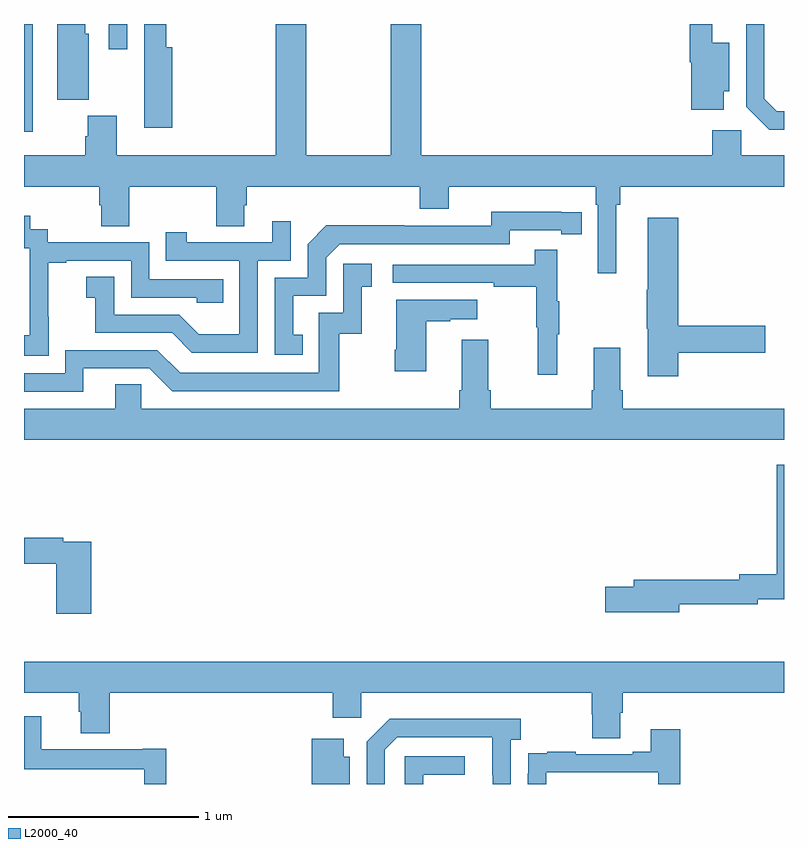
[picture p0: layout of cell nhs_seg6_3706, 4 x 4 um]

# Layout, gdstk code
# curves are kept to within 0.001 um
import gdstk
lib = gdstk.Library(unit=1e-6, precision=1e-09)
def R(c, l, rs):  # rectangles x0, y0, x1, y1
    for r in rs: c.add(gdstk.rectangle(r[:2], r[2:], *l))
def P(c, l, *ps):  # polygons
    for p in ps: c.add(gdstk.Polygon(p, *l))
L2000_40 = (2000, 40)

nhs_seg6_3706 = lib.new_cell('nhs_seg6_3706')
R(nhs_seg6_3706, L2000_40, [(327,972.932,327.046,973.5), (327.447,973.368,327.543,973.5)])
P(nhs_seg6_3706, L2000_40, [(331,973.041),(330.963,973.041),(330.897,973.107),(330.897,973.5),(330.801,973.5),(330.801,973.065),(330.922,972.944),(331,972.944)],
  [(330.682,973.145),(330.712,973.145),(330.712,973.402),(330.623,973.402),(330.623,973.5),(330.505,973.5),(330.505,973.298),(330.512,973.298),(330.512,973.05),(330.682,973.05)],
  [(327.779,973.378),(327.749,973.378),(327.749,973.5),(327.633,973.5),(327.633,973.274),(327.632,973.274),(327.632,972.954),(327.779,972.954)],
  [(327.34,973.449),(327.322,973.449),(327.322,973.5),(327.176,973.5),(327.176,973.102),(327.34,973.102)],
  [(330.118,972.548),(330.137,972.548),(330.137,972.644),(331,972.644),(331,972.808),(330.774,972.808),(330.774,972.94),(330.623,972.94),(330.623,972.808),(329.09,972.808),(329.09,973.5),(328.93,973.5),(328.93,972.808),(328.485,972.808),(328.485,973.5),(328.325,973.5),(328.325,972.808),(327.488,972.808),(327.488,973.017),(327.335,973.017),(327.335,972.908),(327.323,972.908),(327.323,972.808),(327,972.808),(327,972.644),(327.395,972.644),(327.395,972.546),(327.407,972.546),(327.407,972.436),(327.555,972.436),(327.555,972.644),(328.012,972.644),(328.012,972.436),(328.159,972.436),(328.159,972.546),(328.172,972.546),(328.172,972.644),(329.084,972.644),(329.084,972.527),(329.236,972.527),(329.236,972.644),(330.008,972.644),(330.008,972.548),(330.021,972.548),(330.021,972.189),(330.118,972.189)],
  [(328.466,971.865),(328.417,971.865),(328.417,972.069),(328.59,972.069),(328.59,972.27),(328.662,972.342),(329.556,972.342),(329.556,972.414),(329.828,972.414),(329.828,972.394),(329.936,972.394),(329.936,972.51),(329.46,972.511),(329.46,972.438),(329,972.438),(329,972.44),(328.592,972.44),(328.494,972.342),(328.494,972.165),(328.32,972.165),(328.32,971.76),(328.466,971.76)],
  [(327.129,971.959),(327.128,971.959),(327.128,972.243),(327.223,972.243),(327.223,972.255),(327.564,972.255),(327.564,972.06),(327.909,972.06),(327.909,972.033),(328.049,972.033),(328.049,972.156),(327.66,972.156),(327.66,972.351),(327.126,972.351),(327.126,972.42),(327.034,972.42),(327.034,972.49),(327,972.49),(327,972.321),(327.03,972.321),(327.03,972.092),(327.029,972.092),(327.029,971.863),(327,971.863),(327,971.753),(327.129,971.753)],
  [(330.443,971.77),(330.901,971.77),(330.901,971.912),(330.443,971.912),(330.443,972.481),(330.284,972.481),(330.284,972.101),(330.277,972.101),(330.277,971.895),(330.284,971.895),(330.284,971.646),(330.443,971.646)],
  [(328.23,972.255),(328.404,972.255),(328.404,972.463),(328.307,972.463),(328.307,972.351),(327.856,972.351),(327.856,972.403),(327.745,972.403),(327.745,972.255),(328.134,972.255),(328.134,971.866),(327.92,971.866),(327.816,971.97),(327.474,971.97),(327.474,972.169),(327.327,972.169),(327.327,972.059),(327.376,972.059),(327.376,971.874),(327.779,971.874),(327.884,971.769),(328.23,971.769)],
  [(329.807,971.867),(329.818,971.867),(329.818,972.041),(329.807,972.041),(329.807,972.313),(329.689,972.313),(329.689,972.234),(328.941,972.234),(328.941,972.138),(329.473,972.138),(329.473,972.118),(329.697,972.118),(329.697,971.904),(329.704,971.904),(329.704,971.655),(329.807,971.655)],
  [(327.313,971.688),(327.66,971.688),(327.78,971.568),(328.66,971.568),(328.66,971.871),(328.778,971.871),(328.778,972.117),(328.831,972.117),(328.831,972.238),(328.68,972.238),(328.68,971.979),(328.551,971.979),(328.551,971.664),(327.822,971.664),(327.702,971.784),(327.216,971.784),(327.216,971.661),(327,971.661),(327,971.565),(327.313,971.565)],
  [(329.116,971.935),(329.243,971.935),(329.243,971.945),(329.386,971.945),(329.386,972.049),(328.958,972.049),(328.958,971.785),(328.951,971.785),(328.951,971.673),(329.116,971.673)],
  [(331,971.476),(330.152,971.476),(330.152,971.572),(330.139,971.572),(330.139,971.797),(329.999,971.797),(329.999,971.572),(329.987,971.572),(329.987,971.476),(329.456,971.476),(329.456,971.572),(329.443,971.572),(329.443,971.839),(329.303,971.839),(329.303,971.572),(329.291,971.572),(329.291,971.476),(327.618,971.476),(327.618,971.603),(327.479,971.603),(327.479,971.476),(327,971.476),(327,971.312),(331,971.312)],
  [(330.448,970.446),(330.862,970.446),(330.862,970.472),(331,970.472),(331,971.179),(330.962,971.179),(330.962,970.604),(330.764,970.604),(330.764,970.574),(330.209,970.574),(330.209,970.538),(330.06,970.538),(330.06,970.403),(330.448,970.403)],
  [(327.353,970.776),(327.206,970.776),(327.206,970.796),(327,970.796),(327,970.66),(327.17,970.66),(327.17,970.395),(327.353,970.395)],
  [(327,969.98),(327.287,969.98),(327.287,969.879),(327.299,969.879),(327.299,969.767),(327.452,969.767),(327.452,969.98),(328.625,969.98),(328.625,969.849),(328.776,969.849),(328.776,969.98),(329.987,969.98),(329.987,969.867),(329.992,969.867),(329.992,969.742),(330.139,969.742),(330.139,969.874),(330.152,969.874),(330.152,969.98),(331,969.98),(331,970.144),(327,970.144)],
  [(327.749,969.685),(327.626,969.685),(327.626,969.682),(327.092,969.682),(327.092,969.856),(327,969.856),(327,969.578),(327.633,969.578),(327.633,969.5),(327.749,969.5)],
  [(328.899,969.681),(328.965,969.747),(329.465,969.747),(329.466,969.5),(329.562,969.5),(329.562,969.734),(329.614,969.734),(329.614,969.844),(328.924,969.844),(328.803,969.723),(328.803,969.5),(328.899,969.5)],
  [(329.748,969.561),(330.339,969.561),(330.339,969.5),(330.455,969.5),(330.455,969.787),(330.299,969.787),(330.299,969.67),(330.203,969.67),(330.203,969.657),(329.903,969.657),(329.903,969.67),(329.755,969.67),(329.755,969.663),(329.653,969.663),(329.653,969.554),(329.652,969.554),(329.652,969.5),(329.748,969.5)],
  [(328.714,969.643),(328.684,969.643),(328.684,969.739),(328.514,969.739),(328.514,969.5),(328.714,969.5)],
  [(329.1,969.549),(329.32,969.549),(329.32,969.645),(329.004,969.645),(329.004,969.5),(329.1,969.5)])

lib.write_gds('nhs_seg6_3706.gds')
